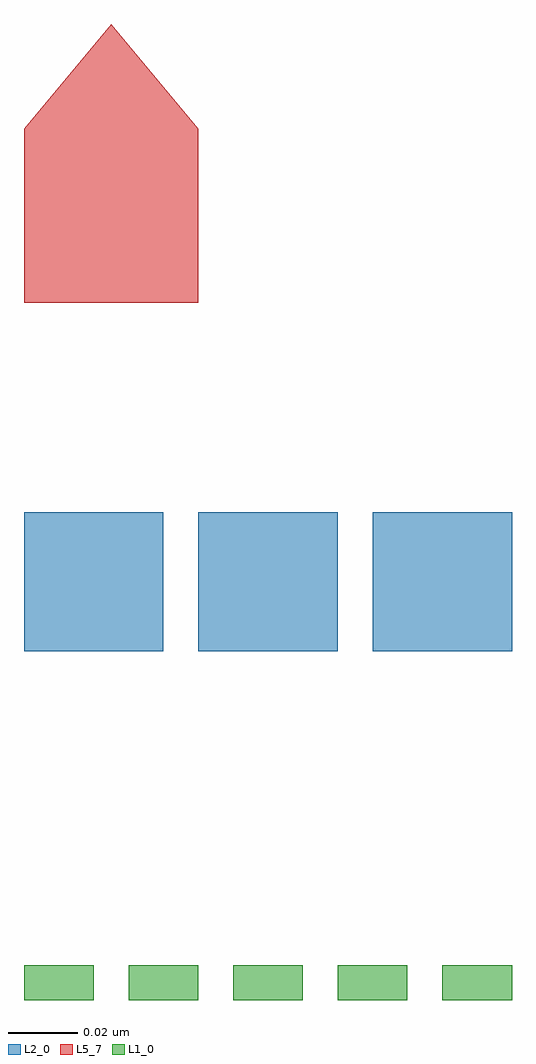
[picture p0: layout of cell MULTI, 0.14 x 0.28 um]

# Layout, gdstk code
import gdstk
lib = gdstk.Library(unit=1e-6, precision=1e-09)
def R(c, l, rs):  # rectangles x0, y0, x1, y1
    for r in rs: c.add(gdstk.rectangle(r[:2], r[2:], *l))
def A(c, l, x, y, w, h, nx, ny, dx, dy):  # array of equal rectangles
    R(c, l, [(x+i*dx, y+j*dy, x+i*dx+w, y+j*dy+h) for i in range(nx) for j in range(ny)])
def P(c, l, *ps):  # polygons
    for p in ps: c.add(gdstk.Polygon(p, *l))
L1_0 = (1, 0)
L2_0 = (2, 0)
L5_7 = (5, 7)

multi = lib.new_cell('MULTI')
A(multi, L1_0, 0, 0, 0.02, 0.01, 5, 1, 0.03, 0)
A(multi, L2_0, 0, 0.1, 0.04, 0.04, 3, 1, 0.05, 0)
P(multi, L5_7, [(0,0.2),(0,0.25),(0.025,0.28),(0.05,0.25),(0.05,0.2)])

lib.write_gds('MULTI.gds')
